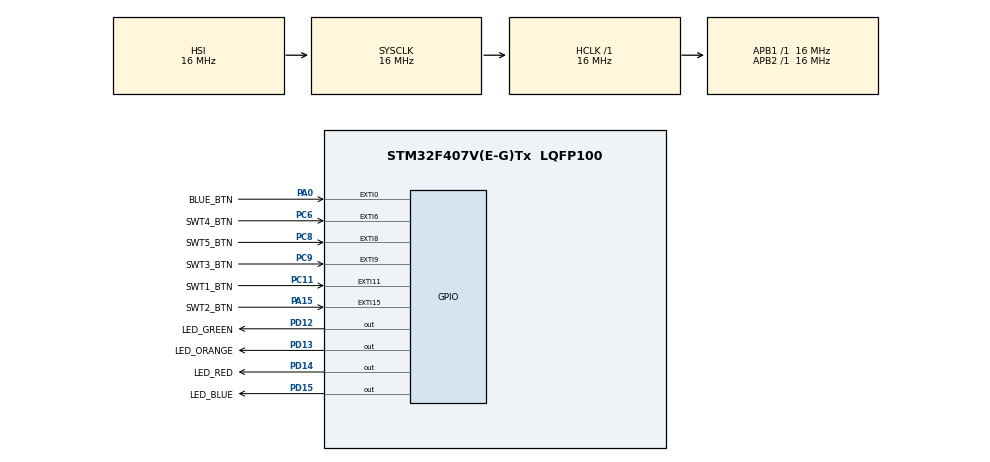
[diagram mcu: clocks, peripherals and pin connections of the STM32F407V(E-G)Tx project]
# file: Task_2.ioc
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Mcu.Family=STM32F4
Mcu.Name=STM32F407V(E-G)Tx
Mcu.Package=LQFP100
NVIC.EXTI0_IRQn=true\:0\:0\:false\:false\:true\:true\:true
NVIC.EXTI15_10_IRQn=true\:0\:0\:false\:false\:true\:true\:true
NVIC.EXTI9_5_IRQn=true\:0\:0\:false\:false\:true\:true\:true
NVIC.PriorityGroup=NVIC_PRIORITYGROUP_4
PA0-WKUP.GPIO_Label=BLUE_BTN
PA0-WKUP.GPIO_ModeDefaultEXTI=GPIO_MODE_IT_FALLING
PA0-WKUP.Signal=GPXTI0
PA15.GPIO_Label=SWT2_BTN
PA15.GPIO_ModeDefaultEXTI=GPIO_MODE_IT_FALLING
PA15.Signal=GPXTI15
PC11.GPIO_Label=SWT1_BTN
PC11.GPIO_ModeDefaultEXTI=GPIO_MODE_IT_FALLING
PC11.Signal=GPXTI11
PC6.GPIO_Label=SWT4_BTN
PC6.GPIO_ModeDefaultEXTI=GPIO_MODE_IT_FALLING
PC6.Signal=GPXTI6
PC8.GPIO_Label=SWT5_BTN
PC8.GPIO_ModeDefaultEXTI=GPIO_MODE_IT_FALLING
PC8.Signal=GPXTI8
PC9.GPIO_Label=SWT3_BTN
PC9.GPIO_ModeDefaultEXTI=GPIO_MODE_IT_FALLING
PC9.Signal=GPXTI9
PD12.GPIO_Label=LED_GREEN
PD12.PinState=GPIO_PIN_SET
PD12.Signal=GPIO_Output
PD13.GPIO_Label=LED_ORANGE
PD13.PinState=GPIO_PIN_SET
PD13.Signal=GPIO_Output
PD14.GPIO_Label=LED_RED
PD14.PinState=GPIO_PIN_SET
PD14.Signal=GPIO_Output
PD15.GPIO_Label=LED_BLUE
PD15.PinState=GPIO_PIN_SET
PD15.Signal=GPIO_Output
ProjectManager.HeapSize=0x200
ProjectManager.StackSize=0x400
ProjectManager.TargetToolchain=STM32CubeIDE
RCC.AHBFreq_Value=16000000
RCC.APB1Freq_Value=16000000
RCC.APB2Freq_Value=16000000
RCC.CortexFreq_Value=16000000
RCC.HSE_VALUE=25000000
RCC.HSI_VALUE=16000000
RCC.LSE_VALUE=32768
RCC.SYSCLKFreq_VALUE=16000000
RCC.VCOOutputFreq_Value=192000000
board=custom

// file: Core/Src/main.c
/* USER CODE BEGIN Header */
/**
  ******************************************************************************
  * @file           : main.c
  * @brief          : Main program body
  ******************************************************************************
  * @attention
  *
  * <h2><center>&copy; Copyright (c) 2021 STMicroelectronics.
  * All rights reserved.</center></h2>
  *
  * This software component is licensed by ST under BSD 3-Clause license,
  * the "License"; You may not use this file except in compliance with the
  * License. You may obtain a copy of the License at:
  *                        opensource.org/licenses/BSD-3-Clause
  *
  ******************************************************************************
  */
/* USER CODE END Header */
#include "main.h"

/* USER CODE BEGIN PD */
#define LED_DELAY_MAX 2000
#define LED_DELAY_MIN  100
#define LED_DELAY_STEP 100

#define LED_NUMBER 4
#define LED_SCHEME_LEN 6

/* USER CODE END PD */

/* USER CODE BEGIN PM */
#define SET_LED_STATE(a, b) ((a & (1 << b)) )

/* USER CODE END PM */

/* USER CODE BEGIN PV */
 uint32_t ledPin[LED_NUMBER] = {LED_GREEN_Pin, LED_ORANGE_Pin, LED_RED_Pin, LED_BLUE_Pin};

 uint8_t  ledScheme[LED_NUMBER][LED_SCHEME_LEN] = { {0b0000,0b1111,0b0000,0b1111,0b0000,0b1111},
		 	 	 	 	 	 	 	 	 	 	 	{0b0010,0b0100,0b0010,0b1001,0b0010,0b0100},
													{0b1111,0b1000,0b0011,0b1111,0b0000,0b0111},
													{0b1010,0b0101,0b1010,0b0101,0b1010,0b0101} };

 uint8_t blinkStep = 0;

 uint32_t ledDelay = 1000;
 uint32_t lastDelay = 0; // counter to check if delay passed

 uint8_t ledState = 1;

 uint8_t ledMode = 0;

/* USER CODE END PV */

void SystemClock_Config(void);
static void MX_GPIO_Init(void);
/* USER CODE BEGIN PFP */
static void blinkLed(void);
/* USER CODE END PFP */

/* USER CODE BEGIN 0 */

void HAL_GPIO_EXTI_Callback(uint16_t GPIO_Pin)
{
	switch(GPIO_Pin) {
		case BLUE_BTN_Pin:
			if (__HAL_GPIO_EXTI_GET_IT(BLUE_BTN_Pin) != SET)
			{
				ledState = !ledState;
			}
			break;
		case SWT1_BTN_Pin:
			ledDelay-= LED_DELAY_STEP;
			if(ledDelay < LED_DELAY_MIN)
				 ledDelay = LED_DELAY_MIN;
			break;
		case SWT3_BTN_Pin:
			ledDelay+= LED_DELAY_STEP;
			if(ledDelay > LED_DELAY_MAX)
				 ledDelay = LED_DELAY_MAX;
			break;
		case SWT4_BTN_Pin:
			ledMode = (ledMode < 3) ? (ledMode + 1) : ledMode;
			break;
		case SWT5_BTN_Pin:
			ledMode = (ledMode > 0) ? (ledMode - 1) : ledMode;
			break;
		}
}

static void blinkLed(void)
{
	uint32_t getTick = HAL_GetTick();
	if ((getTick - lastDelay) >= ledDelay)
	{
		lastDelay = getTick;

		blinkStep++;

		blinkStep = (blinkStep >= LED_SCHEME_LEN) ? 0 : blinkStep;

		uint8_t blinkState = ledScheme[ledMode][blinkStep];

		for( uint8_t k = 0; k < LED_NUMBER; k++)
		{
			HAL_GPIO_WritePin(GPIOD, ledPin[k], SET_LED_STATE(blinkState, k));

		}
	 }
}
/* USER CODE END 0 */

int main(void)
{

  /* MCU Configuration--------------------------------------------------------*/

  /* Reset of all peripherals, Initializes the Flash interface and the Systick. */
  HAL_Init();

  /* Configure the system clock */
  SystemClock_Config();

  /* Initialize all configured peripherals */
  MX_GPIO_Init();

  /* Infinite loop */
  /* USER CODE BEGIN WHILE */

  while (1)
  {
	  if (ledState)
		  blinkLed();
	  else
	  {
		  /* turn off led light by interrupt */
		  for(uint8_t  i = 0; i < LED_NUMBER; i++)
			  {
				  HAL_GPIO_WritePin(GPIOD, ledPin[i], GPIO_PIN_RESET);
				  HAL_PWR_EnterSLEEPMode(PWR_MAINREGULATOR_ON, PWR_SLEEPENTRY_WFI);
			  }
	  }
    /* USER CODE END WHILE */

  }
}

void SystemClock_Config(void)
{
  RCC_OscInitTypeDef RCC_OscInitStruct = {0};
  RCC_ClkInitTypeDef RCC_ClkInitStruct = {0};

  /** Configure the main internal regulator output voltage
  */
  __HAL_RCC_PWR_CLK_ENABLE();
  __HAL_PWR_VOLTAGESCALING_CONFIG(PWR_REGULATOR_VOLTAGE_SCALE1);
  /** Initializes the RCC Oscillators according to the specified parameters
  * in the RCC_OscInitTypeDef structure.
  */
  RCC_OscInitStruct.OscillatorType = RCC_OSCILLATORTYPE_HSI;
  RCC_OscInitStruct.HSIState = RCC_HSI_ON;
  RCC_OscInitStruct.HSICalibrationValue = RCC_HSICALIBRATION_DEFAULT;
  RCC_OscInitStruct.PLL.PLLState = RCC_PLL_NONE;
  if (HAL_RCC_OscConfig(&RCC_OscInitStruct) != HAL_OK)
  {
    Error_Handler();
  }
  /** Initializes the CPU, AHB and APB buses clocks
  */
  RCC_ClkInitStruct.ClockType = RCC_CLOCKTYPE_HCLK|RCC_CLOCKTYPE_SYSCLK
                              |RCC_CLOCKTYPE_PCLK1|RCC_CLOCKTYPE_PCLK2;
  RCC_ClkInitStruct.SYSCLKSource = RCC_SYSCLKSOURCE_HSI;
  RCC_ClkInitStruct.AHBCLKDivider = RCC_SYSCLK_DIV1;
  RCC_ClkInitStruct.APB1CLKDivider = RCC_HCLK_DIV1;
  RCC_ClkInitStruct.APB2CLKDivider = RCC_HCLK_DIV1;

  if (HAL_RCC_ClockConfig(&RCC_ClkInitStruct, FLASH_LATENCY_0) != HAL_OK)
  {
    Error_Handler();
  }
}

static void MX_GPIO_Init(void)
{
  GPIO_InitTypeDef GPIO_InitStruct = {0};

  /* GPIO Ports Clock Enable */
  __HAL_RCC_GPIOA_CLK_ENABLE();
  __HAL_RCC_GPIOD_CLK_ENABLE();
  __HAL_RCC_GPIOC_CLK_ENABLE();

  /*Configure GPIO pin Output Level */
  HAL_GPIO_WritePin(GPIOD, LED_GREEN_Pin|LED_ORANGE_Pin|LED_RED_Pin|LED_BLUE_Pin, GPIO_PIN_SET);

  /*Configure GPIO pins : BLUE_BTN_Pin SWT2_BTN_Pin */
  GPIO_InitStruct.Pin = BLUE_BTN_Pin|SWT2_BTN_Pin;
  GPIO_InitStruct.Mode = GPIO_MODE_IT_FALLING;
  GPIO_InitStruct.Pull = GPIO_NOPULL;
  HAL_GPIO_Init(GPIOA, &GPIO_InitStruct);

  /*Configure GPIO pins : LED_GREEN_Pin LED_ORANGE_Pin LED_RED_Pin LED_BLUE_Pin */
  GPIO_InitStruct.Pin = LED_GREEN_Pin|LED_ORANGE_Pin|LED_RED_Pin|LED_BLUE_Pin;
  GPIO_InitStruct.Mode = GPIO_MODE_OUTPUT_PP;
  GPIO_InitStruct.Pull = GPIO_NOPULL;
  GPIO_InitStruct.Speed = GPIO_SPEED_FREQ_LOW;
  HAL_GPIO_Init(GPIOD, &GPIO_InitStruct);

  /*Configure GPIO pins : SWT4_BTN_Pin SWT5_BTN_Pin SWT3_BTN_Pin SWT1_BTN_Pin */
  GPIO_InitStruct.Pin = SWT4_BTN_Pin|SWT5_BTN_Pin|SWT3_BTN_Pin|SWT1_BTN_Pin;
  GPIO_InitStruct.Mode = GPIO_MODE_IT_FALLING;
  GPIO_InitStruct.Pull = GPIO_NOPULL;
  HAL_GPIO_Init(GPIOC, &GPIO_InitStruct);

  /* EXTI interrupt init*/
  HAL_NVIC_SetPriority(EXTI0_IRQn, 0, 0);
  HAL_NVIC_EnableIRQ(EXTI0_IRQn);

  HAL_NVIC_SetPriority(EXTI9_5_IRQn, 0, 0);
  HAL_NVIC_EnableIRQ(EXTI9_5_IRQn);

  HAL_NVIC_SetPriority(EXTI15_10_IRQn, 0, 0);
  HAL_NVIC_EnableIRQ(EXTI15_10_IRQn);

}

void Error_Handler(void)
{
  __disable_irq();
  while (1)
  {
  }
}

/************************ (C) COPYRIGHT STMicroelectronics *****END OF FILE****/
